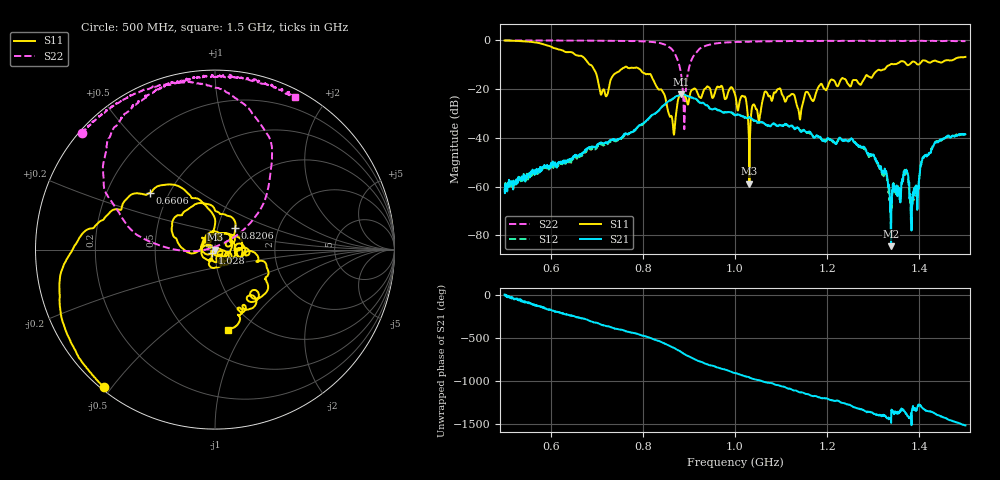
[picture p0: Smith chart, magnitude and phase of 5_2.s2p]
!Agilent Technologies,E8364B,US42250235,A.06.04.32
!Agilent E8364B: A.06.04.32
!Date: Friday, January 15, 2021 12:03:51
!Correction: S11(Full 2 Port(1,2)) S21(Full 2 Port(1,2)) S12(Full 2 Port(1,2)) S22(Full 2 Port(1,2))
!S2P File: Measurements: S11, S21, S12, S22:
# Hz S  dB  R 50
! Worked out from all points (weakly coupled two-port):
!   1601 points, 500 MHz to 1.5 GHz, reference 50 ohm
!   highest |S21| = -21.99 dB at 882.5 MHz (marker M1); lowest = -84.4 dB at 1.339 GHz (marker M2)
!   lowest |S11| = -58.8 dB at 1.031 GHz (marker M3), VSWR 1.00, Z = 50 - j0.115 ohm
!   |S11| at or under -10 dB: 684.9 MHz to 1.337 GHz (652.2 MHz wide, 64.5 % of centre); 1.37287 GHz to 1.378352 GHz (5.483 MHz wide, 0.399 % of centre)
!   |S22| runs from -36.5 to -0.1 dB; largest |S21 - S12| = 0.0024
!   S11 on the Smith chart (normalised r, x): 500 MHz: 0.01, -0.48; 660.6 MHz: 0.39, +0.32; 820.6 MHz: 1.21, +0.30; 1.028 GHz: 0.97, -0.04; 1.5 GHz: 0.75, -0.85
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5e8  -0.12 -128.9  -61.28 3.2  -60.00 4.7  -0.12 138.6
6.60625e8  -6.35 138.9  -47.38 99.1  -48.14 97.5  -0.18 122.8
6.66875e8  -6.42 132.5  -46.50 89.3  -47.52 88.7  -0.16 122.1
7.2e8  -23.01 151.3  -41.82 -1.4  -42.75 1.1  -0.23 115.5
8.20625e8  -15.59 47.1  -30.61 -150.5  -30.67 -148.7  -0.71 93.3
8.3375e8  -20.12 29.9  -28.96 -173.8  -29.08 -172.5  -1.04 86.5
8.65625e8  -35.53 -164.0  -23.90 108.4  -23.97 110.0  -4.29 58.7
8.825e8  -22.05 161.7  -21.99 58.8  -22.09 59.6  -13.31 35.5
8.9125e8  -22.90 125.1  -22.36 28.3  -22.44 28.9  -28.30 174.7
9.25e8  -23.57 70.3  -25.68 -54.9  -25.71 -54.7  -3.28 152.6
1e9  -22.15 -73.2  -30.69 172.1  -30.70 172.6  -0.76 120.5
1.028125e9  -32.06 -124.8  -31.82 128.2  -31.96 125.9  -0.66 115.7
1.03125e9  -58.78 -91.6  -31.57 121.8  -31.92 120.0  -0.64 114.5
1.066875e9  -21.08 -42.9  -34.75 65.3  -34.60 63.7  -0.46 109.9
1.166875e9  -24.43 61.4  -38.72 -93.5  -38.94 -92.8  -0.37 97.9
1.27875e9  -16.39 3.3  -43.66 101.5  -44.19 98.1  -0.34 86.6
1.33375e9  -10.32 -18.7  -59.19 -4.1  -59.55 -2.4  -0.29 80.9
1.33875e9  -9.77 -23.3  -84.43 -46.7  -72.07 51.6  -0.32 79.7
1.370625e9  -9.49 -52.6  -53.20 61.4  -53.41 65.6  -0.24 76.4
1.38375e9  -9.03 -46.3  -73.51 91.4  -69.65 149.4  -0.30 75.4
1.433125e9  -8.37 -65.3  -42.26 66.8  -42.07 63.3  -0.31 70.9
1.5e9  -6.84 -80.7  -38.55 -75.7  -38.83 -80.0  -0.35 62.4
